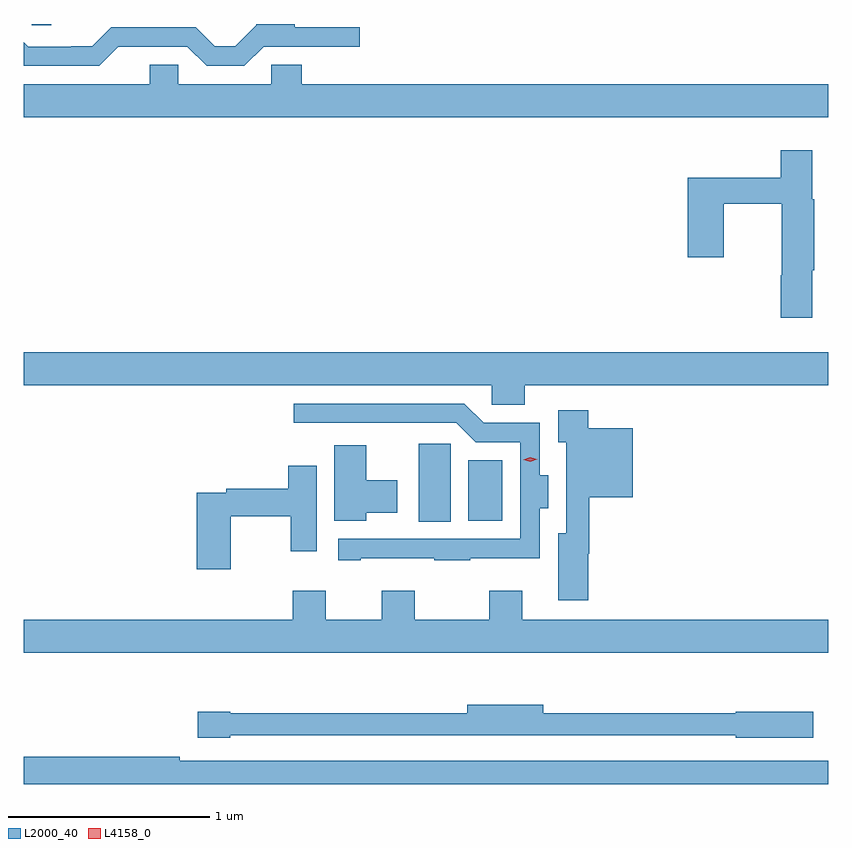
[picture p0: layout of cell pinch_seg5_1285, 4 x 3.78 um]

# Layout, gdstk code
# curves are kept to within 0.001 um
import gdstk
lib = gdstk.Library(unit=1e-6, precision=1e-09)
def R(c, l, rs):  # rectangles x0, y0, x1, y1
    for r in rs: c.add(gdstk.rectangle(r[:2], r[2:], *l))
def P(c, l, *ps):  # polygons
    for p in ps: c.add(gdstk.Polygon(p, *l))
L2000_40 = (2000, 40)
L4158_0 = (4158, 0)

pinch_seg5_1285 = lib.new_cell('pinch_seg5_1285')
R(pinch_seg5_1285, L2000_40, [(521.414,853.417,521.572,853.804), (521.66,853.421,521.83,853.723), (519.49,855.885,519.585,855.892)])
P(pinch_seg5_1285, L2000_40, [(519.92,855.779),(520.263,855.78),(520.359,855.684),(520.546,855.684),(520.642,855.78),(521.121,855.779),(521.121,855.876),(520.798,855.876),(520.798,855.892),(520.605,855.892),(520.605,855.885),(520.501,855.781),(520.4,855.781),(520.305,855.876),(519.885,855.876),(519.791,855.782),(519.686,855.782),(519.686,855.78),(519.471,855.78),(519.45,855.801),(519.45,855.684),(519.825,855.684)],
  [(523.45,855.592),(520.832,855.592),(520.832,855.69),(520.68,855.69),(520.68,855.592),(520.218,855.592),(520.218,855.69),(520.076,855.69),(520.076,855.592),(519.45,855.592),(519.45,855.428),(523.45,855.428)],
  [(523.372,854.668),(523.38,854.668),(523.38,855.021),(523.372,855.021),(523.372,855.265),(523.214,855.265),(523.214,855.127),(522.752,855.127),(522.752,854.733),(522.93,854.733),(522.93,854.998),(523.219,854.998),(523.219,854.642),(523.214,854.642),(523.214,854.43),(523.372,854.43)],
  [(519.45,854.096),(521.778,854.096),(521.778,853.998),(521.942,853.998),(521.942,854.096),(523.45,854.096),(523.45,854.26),(519.45,854.26)],
  [(521.125,853.235),(521.491,853.235),(521.491,853.224),(521.669,853.224),(521.669,853.235),(522.015,853.235),(522.015,853.484),(522.058,853.484),(522.058,853.648),(522.016,853.648),(522.016,853.908),(521.736,853.908),(521.64,854.004),(520.791,854.004),(520.791,853.908),(521.601,853.908),(521.697,853.812),(521.919,853.812),(521.919,853.332),(521.013,853.332),(521.013,853.224),(521.125,853.224)],
  [(522.257,853.256),(522.263,853.256),(522.263,853.538),(522.478,853.538),(522.478,853.882),(522.257,853.882),(522.257,853.972),(522.107,853.972),(522.107,853.811),(522.147,853.811),(522.147,853.36),(522.107,853.36),(522.107,853.026),(522.257,853.026)],
  [(521.152,853.46),(521.308,853.46),(521.308,853.624),(521.152,853.624),(521.152,853.798),(520.994,853.798),(520.994,853.421),(521.152,853.421)],
  [(520.48,853.444),(520.778,853.444),(520.778,853.269),(520.906,853.269),(520.906,853.696),(520.766,853.696),(520.766,853.58),(520.456,853.58),(520.456,853.56),(520.31,853.56),(520.31,853.179),(520.48,853.179)],
  [(523.45,852.928),(521.929,852.928),(521.929,853.072),(521.765,853.072),(521.765,852.928),(521.395,852.928),(521.395,853.072),(521.231,853.072),(521.231,852.928),(520.951,852.928),(520.951,853.072),(520.787,853.072),(520.787,852.928),(519.45,852.928),(519.45,852.764),(523.45,852.764)],
  [(520.476,852.354),(522.99,852.354),(522.99,852.341),(523.375,852.341),(523.375,852.471),(522.99,852.471),(522.99,852.463),(522.034,852.463),(522.034,852.505),(521.654,852.505),(521.654,852.463),(520.476,852.463),(520.476,852.471),(520.314,852.471),(520.314,852.341),(520.476,852.341)],
  [(523.45,852.228),(520.226,852.228),(520.226,852.248),(519.45,852.248),(519.45,852.112),(523.45,852.112)])
P(pinch_seg5_1285, L4158_0, [(521.968,853.716),(521.933,853.724),(521.932,853.724),(521.933,853.725),(521.968,853.736),(522.003,853.727),(522.004,853.727),(522.003,853.727)])

lib.write_gds('pinch_seg5_1285.gds')
